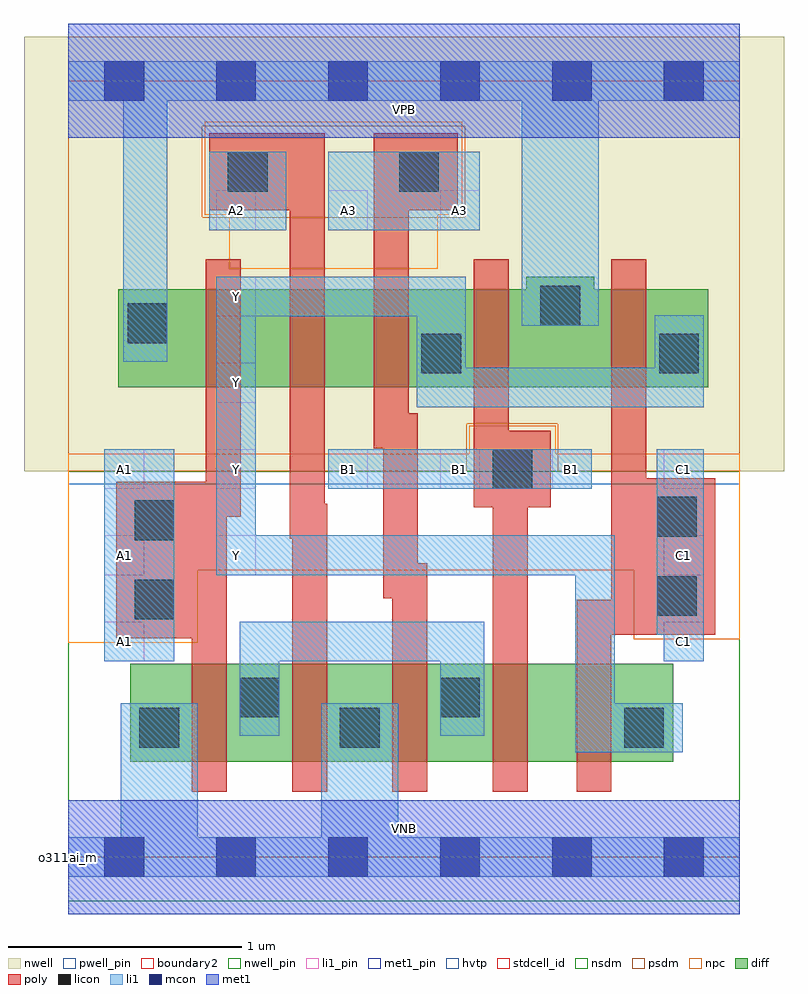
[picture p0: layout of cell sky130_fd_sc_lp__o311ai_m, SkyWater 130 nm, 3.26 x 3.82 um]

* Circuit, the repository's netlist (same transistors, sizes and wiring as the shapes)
* Copyright 2020 The SkyWater PDK Authors
*
* Licensed under the Apache License, Version 2.0 (the "License");
* you may not use this file except in compliance with the License.
* You may obtain a copy of the License at
*
*     https://www.apache.org/licenses/LICENSE-2.0
*
* Unless required by applicable law or agreed to in writing, software
* distributed under the License is distributed on an "AS IS" BASIS,
* WITHOUT WARRANTIES OR CONDITIONS OF ANY KIND, either express or implied.
* See the License for the specific language governing permissions and
* limitations under the License.
*
* SPDX-License-Identifier: Apache-2.0

.SUBCKT sky130_fd_sc_lp__o311ai_m A1 A2 A3 B1 C1 VGND VNB VPB VPWR Y
*.PININFO A1:I A2:I A3:I B1:I C1:I VGND:I VNB:I VPB:I VPWR:I Y:O
MMPA0 VPWR A1 sndA1 VPB sky130_fd_pr__pfet_01v8_hvt m=1 w=0.42U l=0.15U mult=1
+ sa=0.265 sb=0.265 sd=0.28 area=0.063 perim=1.14
MMPA1 sndA1 A2 sndA2 VPB sky130_fd_pr__pfet_01v8_hvt m=1 w=0.42U l=0.15U mult=1
+ sa=0.265 sb=0.265 sd=0.28 area=0.063 perim=1.14
MMPA2 sndA2 A3 Y VPB sky130_fd_pr__pfet_01v8_hvt m=1 w=0.42U l=0.15U mult=1 sa=0.265
+ sb=0.265 sd=0.28 area=0.063 perim=1.14
MMPB0 VPWR B1 Y VPB sky130_fd_pr__pfet_01v8_hvt m=1 w=0.42U l=0.15U mult=1 sa=0.265
+ sb=0.265 sd=0.28 area=0.063 perim=1.14
MMPC0 VPWR C1 Y VPB sky130_fd_pr__pfet_01v8_hvt m=1 w=0.42U l=0.15U mult=1 sa=0.265
+ sb=0.265 sd=0.28 area=0.063 perim=1.14
MMNA0 pndA A1 VGND VNB sky130_fd_pr__nfet_01v8 m=1 w=0.42U l=0.15U mult=1 sa=0.265
+ sb=0.265 sd=0.28 area=0.063 perim=1.14
MMNA1 pndA A2 VGND VNB sky130_fd_pr__nfet_01v8 m=1 w=0.42U l=0.15U mult=1 sa=0.265
+ sb=0.265 sd=0.28 area=0.063 perim=1.14
MMNA2 pndA A3 VGND VNB sky130_fd_pr__nfet_01v8 m=1 w=0.42U l=0.15U mult=1 sa=0.265
+ sb=0.265 sd=0.28 area=0.063 perim=1.14
MMNB0 pndB B1 pndA VNB sky130_fd_pr__nfet_01v8 m=1 w=0.42U l=0.15U mult=1 sa=0.265
+ sb=0.265 sd=0.28 area=0.063 perim=1.14
MMNC0 Y C1 pndB VNB sky130_fd_pr__nfet_01v8 m=1 w=0.42U l=0.15U mult=1 sa=0.265
+ sb=0.265 sd=0.28 area=0.063 perim=1.14
.ENDS sky130_fd_sc_lp__o311ai_m

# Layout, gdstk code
import gdstk
lib = gdstk.Library(unit=1e-6, precision=1e-09)
def R(c, l, rs):  # rectangles x0, y0, x1, y1
    for r in rs: c.add(gdstk.rectangle(r[:2], r[2:], *l))
def A(c, l, x, y, w, h, nx, ny, dx, dy):  # array of equal rectangles
    R(c, l, [(x+i*dx, y+j*dy, x+i*dx+w, y+j*dy+h) for i in range(nx) for j in range(ny)])
def P(c, l, *ps):  # polygons
    for p in ps: c.add(gdstk.Polygon(p, *l))
nwell_pin = (64, 16)
nwell = (64, 20)
diff = (65, 20)
poly = (66, 20)
licon = (66, 44)
li1_pin = (67, 16)
li1 = (67, 20)
mcon = (67, 44)
met1_pin = (68, 16)
met1 = (68, 20)
hvtp = (78, 44)
stdcell_id = (81, 4)
nsdm = (93, 44)
psdm = (94, 20)
npc = (95, 20)
pwell_pin = (122, 16)
boundary2 = (236, 0)

sky130_fd_sc_lp__o311ai_ = lib.new_cell('sky130_fd_sc_lp__o311ai_m')
R(sky130_fd_sc_lp__o311ai_, nwell_pin, [(0,3.085,2.88,3.33)])
R(sky130_fd_sc_lp__o311ai_, nwell, [(-0.19,1.655,3.07,3.52)])
R(sky130_fd_sc_lp__o311ai_, diff, [(0.265,0.41,2.595,0.83)])
P(sky130_fd_sc_lp__o311ai_, diff, [(2.745,2.435),(2.255,2.435),(2.255,2.49),(1.965,2.49),(1.965,2.435),(0.215,2.435),(0.215,2.015),(2.745,2.015)])
P(sky130_fd_sc_lp__o311ai_, poly, [(0.74,2.565),(0.59,2.565),(0.59,1.61),(0.205,1.61),(0.205,0.94),(0.53,0.94),(0.53,0.28),(0.68,0.28),(0.68,1.46),(0.74,1.46)],
  [(1.11,1.515),(1.1,1.515),(1.1,3.105),(0.605,3.105),(0.605,2.775),(0.95,2.775),(0.95,1.365),(0.96,1.365),(0.96,0.28),(1.11,0.28)],
  [(1.67,3.105),(1.31,3.105),(1.31,1.755),(1.35,1.755),(1.35,1.11),(1.39,1.11),(1.39,0.28),(1.54,0.28),(1.54,1.26),(1.5,1.26),(1.5,1.905),(1.46,1.905),(1.46,2.775),(1.67,2.775)],
  [(2.07,1.83),(1.89,1.83),(1.89,2.565),(1.74,2.565),(1.74,1.5),(1.82,1.5),(1.82,0.28),(1.97,0.28),(1.97,1.5),(2.07,1.5)],
  [(2.775,1.625),(2.48,1.625),(2.48,2.565),(2.33,2.565),(2.33,1.105),(2.18,1.105),(2.18,0.28),(2.33,0.28),(2.33,0.955),(2.775,0.955)])
R(sky130_fd_sc_lp__o311ai_, licon, [(0.305,0.47,0.475,0.64), (1.165,0.47,1.335,0.64), (2.385,0.47,2.555,0.64), (0.735,0.6,0.905,0.77), (1.595,0.6,1.765,0.77), (0.285,1.02,0.455,1.19), (2.525,1.035,2.695,1.205), (0.285,1.36,0.455,1.53), (2.525,1.375,2.695,1.545), (1.82,1.58,1.99,1.75), (1.515,2.075,1.685,2.245), (2.535,2.075,2.705,2.245), (0.255,2.205,0.425,2.375), (2.025,2.28,2.195,2.45), (0.685,2.855,0.855,3.025), (1.42,2.855,1.59,3.025)])
A(sky130_fd_sc_lp__o311ai_, li1_pin, 0.155, 1.58, 0.17, 0.17, 6, 1, 0.48, 0)
A(sky130_fd_sc_lp__o311ai_, li1_pin, 0.635, 2.69, 0.17, 0.17, 3, 1, 0.48, 0)
R(sky130_fd_sc_lp__o311ai_, li1_pin, [(0.155,0.84,0.325,1.01), (2.555,0.84,2.725,1.01), (0.155,1.21,0.325,1.38), (0.635,1.21,0.805,1.38), (2.555,1.21,2.725,1.38), (0.635,1.95,0.805,2.12), (0.635,2.32,0.805,2.49)])
R(sky130_fd_sc_lp__o311ai_, li1, [(0.155,0.84,0.455,1.75), (1.115,1.58,2.245,1.75), (0.605,2.69,0.935,3.025), (1.115,2.69,1.765,3.025)])
P(sky130_fd_sc_lp__o311ai_, li1, [(1.945,2.28),(1.945,3.245),(0.425,3.245),(0.425,2.125),(0.235,2.125),(0.235,3.245),(0,3.245),(0,3.415),(2.88,3.415),(2.88,3.245),(2.275,3.245),(2.275,2.28)],
  [(0.225,0.085),(0.225,0.66),(0.555,0.66),(0.555,0.085),(1.085,0.085),(1.085,0.66),(1.415,0.66),(1.415,0.085),(2.88,0.085),(2.88,-0.085),(0,-0.085),(0,0.085)],
  [(0.635,2.49),(1.705,2.49),(1.705,2.1),(2.515,2.1),(2.515,2.325),(2.725,2.325),(2.725,1.93),(1.495,1.93),(1.495,2.32),(0.805,2.32),(0.805,1.38),(2.345,1.38),(2.345,0.66),(2.635,0.66),(2.635,0.45),(2.175,0.45),(2.175,1.21),(0.635,1.21)],
  [(1.595,0.84),(0.905,0.84),(0.905,0.52),(0.735,0.52),(0.735,1.01),(1.785,1.01),(1.785,0.52),(1.595,0.52)],
  [(2.555,0.84),(2.555,0.955),(2.525,0.955),(2.525,1.75),(2.725,1.75),(2.725,0.84)])
A(sky130_fd_sc_lp__o311ai_, mcon, 0.155, -0.085, 0.17, 0.17, 6, 2, 0.48, 3.33)
R(sky130_fd_sc_lp__o311ai_, met1_pin, [(0,0,2.88,0.245), (0,3.085,2.88,3.33)])
R(sky130_fd_sc_lp__o311ai_, met1, [(0,-0.245,2.88,0.245), (0,3.085,2.88,3.575)])
R(sky130_fd_sc_lp__o311ai_, hvtp, [(0,1.6,2.88,3.33)])
R(sky130_fd_sc_lp__o311ai_, stdcell_id, [(0,0,2.88,3.33)])
R(sky130_fd_sc_lp__o311ai_, nsdm, [(0,-0.19,2.88,1.655)])
P(sky130_fd_sc_lp__o311ai_, psdm, [(2.88,3.52),(1.7,3.52),(1.7,2.745),(0.575,2.745),(0.575,3.135),(1.7,3.135),(1.7,3.52),(0,3.52),(0,1.655),(1.71,1.655),(1.71,1.86),(2.1,1.86),(2.1,1.655),(2.88,1.655)])
P(sky130_fd_sc_lp__o311ai_, npc, [(2.88,1.73),(2.09,1.73),(2.09,1.85),(1.72,1.85),(1.72,1.73),(0,1.73),(0,0.92),(0.555,0.92),(0.555,1.23),(2.425,1.23),(2.425,0.935),(2.88,0.935)],
  [(1.69,3.155),(0.585,3.155),(0.585,2.755),(0.69,2.755),(0.69,2.525),(1.585,2.525),(1.585,2.755),(1.69,2.755)])
R(sky130_fd_sc_lp__o311ai_, pwell_pin, [(0,0,2.88,0.245)])
R(sky130_fd_sc_lp__o311ai_, boundary2, [(0,0,2.88,3.33)])
sky130_fd_sc_lp__o311ai_.add(gdstk.Label('VNB', (1.44,0.123), layer=64, texttype=59))
sky130_fd_sc_lp__o311ai_.add(gdstk.Label('VPB', (1.44,3.208), layer=64, texttype=5))
sky130_fd_sc_lp__o311ai_.add(gdstk.Label('o311ai_m', (0,0), layer=83, texttype=44))
sky130_fd_sc_lp__o311ai_.add(gdstk.Label('VPWR', (1.44,3.208), layer=68, texttype=5))
sky130_fd_sc_lp__o311ai_.add(gdstk.Label('VGND', (1.44,0.123), layer=68, texttype=5))
sky130_fd_sc_lp__o311ai_.add(gdstk.Label('Y', (0.72,1.295), layer=67, texttype=5))
sky130_fd_sc_lp__o311ai_.add(gdstk.Label('Y', (0.72,1.665), layer=67, texttype=5))
sky130_fd_sc_lp__o311ai_.add(gdstk.Label('Y', (0.72,2.035), layer=67, texttype=5))
sky130_fd_sc_lp__o311ai_.add(gdstk.Label('Y', (0.72,2.405), layer=67, texttype=5))
sky130_fd_sc_lp__o311ai_.add(gdstk.Label('B1', (1.2,1.665), layer=67, texttype=5))
sky130_fd_sc_lp__o311ai_.add(gdstk.Label('B1', (1.68,1.665), layer=67, texttype=5))
sky130_fd_sc_lp__o311ai_.add(gdstk.Label('B1', (2.16,1.665), layer=67, texttype=5))
sky130_fd_sc_lp__o311ai_.add(gdstk.Label('A1', (0.24,0.925), layer=67, texttype=5))
sky130_fd_sc_lp__o311ai_.add(gdstk.Label('A1', (0.24,1.295), layer=67, texttype=5))
sky130_fd_sc_lp__o311ai_.add(gdstk.Label('A1', (0.24,1.665), layer=67, texttype=5))
sky130_fd_sc_lp__o311ai_.add(gdstk.Label('A2', (0.72,2.775), layer=67, texttype=5))
sky130_fd_sc_lp__o311ai_.add(gdstk.Label('A3', (1.2,2.775), layer=67, texttype=5))
sky130_fd_sc_lp__o311ai_.add(gdstk.Label('A3', (1.68,2.775), layer=67, texttype=5))
sky130_fd_sc_lp__o311ai_.add(gdstk.Label('C1', (2.64,0.925), layer=67, texttype=5))
sky130_fd_sc_lp__o311ai_.add(gdstk.Label('C1', (2.64,1.295), layer=67, texttype=5))
sky130_fd_sc_lp__o311ai_.add(gdstk.Label('C1', (2.64,1.665), layer=67, texttype=5))

lib.write_gds('sky130_fd_sc_lp__o311ai_m.gds')
